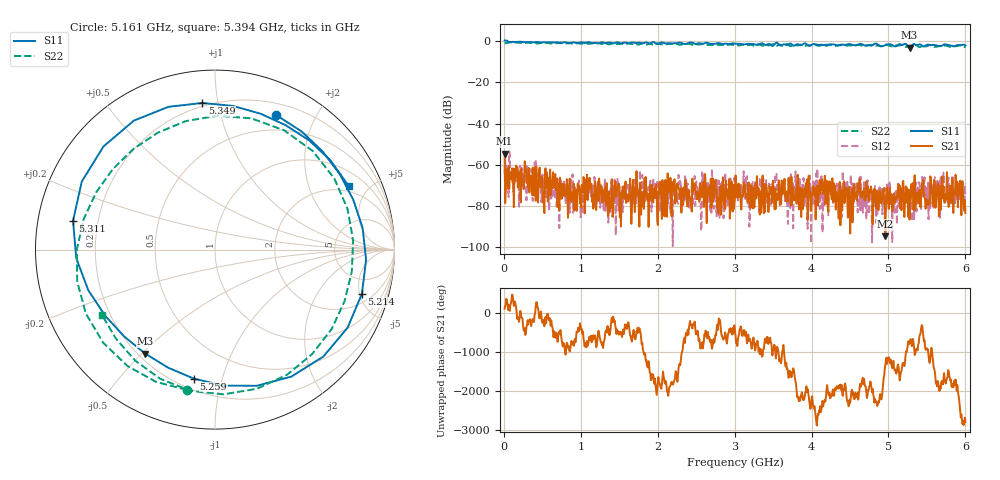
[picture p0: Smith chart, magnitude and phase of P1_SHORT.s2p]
!Keysight Technologies,N5245B,MY52501319,Z.13.01.242
!Date: Monday, February 16, 2026 14:45:36
!Correction: S11(Off)
!S21(Off)
!S12(Off)
!S22(Off)
!S2P File: Measurements: S11, S21, S12, S22:
# Hz S  RI  R 50
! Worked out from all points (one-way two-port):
!   801 points, 10 MHz to 6 GHz, reference 50 ohm
!   highest |S21| = -54.53 dB at 10 MHz (marker M1); lowest = -94.6 dB at 4.959 GHz (marker M2)
!   lowest |S11| = -3.1 dB at 5.274 GHz (marker M3), VSWR 5.62, Z = 11.3 - j25.6 ohm
!   |S11| at or under -10 dB: nowhere
!   |S22| runs from -2.9 to -0.6 dB; largest |S21 - S12| = 0.0019
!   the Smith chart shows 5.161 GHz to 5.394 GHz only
!   S11 on the Smith chart (normalised r, x): 5.161 GHz: 0.32, +1.50; 5.214 GHz: 2.88, -5.26; 5.259 GHz: 0.27, -0.82; 5.311 GHz: 0.11, +0.10; 5.349 GHz: 0.18, +0.90; 5.394 GHz: 1.67, +3.70
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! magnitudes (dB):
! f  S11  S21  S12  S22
! 10 MHz  0.3  -54.5  -64.2  -1.0
! 47.44 MHz  0.0  -63.8  -69.6  -0.9
! 354.4 MHz  -0.5  -66.5  -62.1  -0.8
! 429.3 MHz  -0.4  -69.2  -64.4  -1.2
! 601.5 MHz  -0.6  -62.3  -70.2  -1.1
! 1.013 GHz  -0.6  -69.7  -70.4  -1.3
! 2.009 GHz  -1.4  -73.1  -71.5  -1.1
! 2.428 GHz  -0.7  -76.8  -77.5  -1.6
! 2.608 GHz  -1.0  -72.2  -75.1  -1.6
! 3.005 GHz  -1.3  -76.0  -68.2  -1.8
! 4.008 GHz  -1.6  -73.8  -79.3  -2.0
! 4.959 GHz  -1.9  -94.6  -78.8  -1.7
! 5.004 GHz  -1.5  -81.4  -68.6  -2.1
! 5.161 GHz  -1.7  -75.5  -78.6  -2.0
! 5.214 GHz  -1.4  -75.1  -70.9  -2.5
! 5.259 GHz  -2.7  -85.2  -73.2  -2.5
! 5.274 GHz  -3.1  -86.6  -77.4  -2.3
! 5.311 GHz  -1.9  -75.2  -87.4  -2.2
! 5.349 GHz  -1.7  -81.8  -75.7  -1.8
! 5.394 GHz  -1.7  -72.9  -68.4  -2.8
! 5.903 GHz  -1.9  -80.6  -76.2  -2.3
! 6 GHz  -2.1  -83.3  -74.2  -2.8
